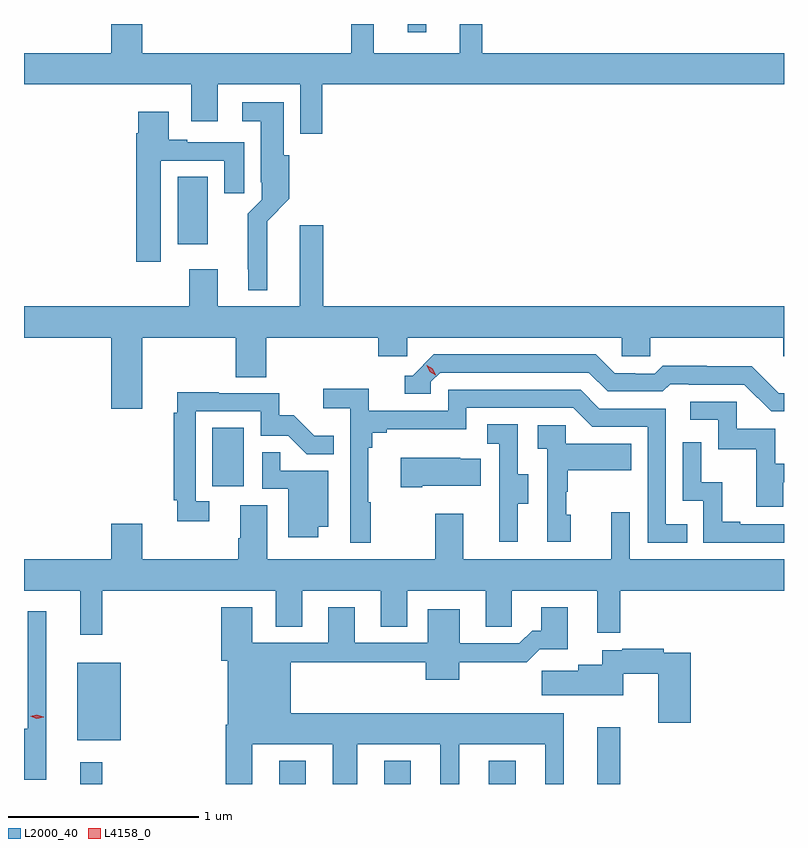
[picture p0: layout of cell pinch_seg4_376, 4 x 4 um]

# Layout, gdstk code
import gdstk
lib = gdstk.Library(unit=1e-6, precision=1e-09)
def R(c, l, rs):  # rectangles x0, y0, x1, y1
    for r in rs: c.add(gdstk.rectangle(r[:2], r[2:], *l))
def A(c, l, x, y, w, h, nx, ny, dx, dy):  # array of equal rectangles
    R(c, l, [(x+i*dx, y+j*dy, x+i*dx+w, y+j*dy+h) for i in range(nx) for j in range(ny)])
def P(c, l, *ps):  # polygons
    for p in ps: c.add(gdstk.Polygon(p, *l))
L2000_40 = (2000, 40)
L4158_0 = (4158, 0)

pinch_seg4_376 = lib.new_cell('pinch_seg4_376')
A(pinch_seg4_376, L2000_40, 993.065, 778.486, 0.14, 0.123, 3, 1, 0.552, 0)
R(pinch_seg4_376, L2000_40, [(992.018,778.486,992.135,778.6), (994.739,778.486,994.861,778.786), (992.003,778.715,992.23,779.125), (992.714,780.054,992.878,780.361), (992.531,781.326,992.689,781.682), (993.741,782.442,993.838,782.486)])
P(pinch_seg4_376, L2000_40, [(992.18,782.486),(992.18,782.332),(991.722,782.332),(991.722,782.168),(992.603,782.168),(992.603,781.974),(992.743,781.974),(992.743,782.168),(993.177,782.168),(993.177,781.908),(993.293,781.908),(993.293,782.168),(995.722,782.168),(995.722,782.332),(994.133,782.332),(994.133,782.486),(994.016,782.486),(994.016,782.332),(993.563,782.332),(993.563,782.486),(993.445,782.486),(993.445,782.332),(992.344,782.332),(992.344,782.486)],
  [(993.001,781.448),(993.119,781.566),(993.119,781.794),(993.088,781.794),(993.088,782.074),(992.871,782.074),(992.871,781.973),(992.969,781.973),(992.969,781.654),(992.973,781.654),(992.973,781.56),(992.9,781.487),(992.9,781.195),(992.903,781.195),(992.903,781.085),(993.001,781.085)],
  [(992.443,781.767),(992.777,781.767),(992.777,781.596),(992.881,781.596),(992.881,781.863),(992.581,781.863),(992.581,781.876),(992.485,781.876),(992.485,782.023),(992.324,782.023),(992.324,781.91),(992.312,781.91),(992.312,781.236),(992.443,781.236)],
  [(992.836,780.628),(992.996,780.628),(992.996,780.836),(993.587,780.836),(993.587,780.738),(993.738,780.738),(993.738,780.836),(994.869,780.836),(994.869,780.738),(995.019,780.738),(995.019,780.836),(995.717,780.836),(995.717,780.738),(995.722,780.738),(995.722,781),(993.296,781),(993.296,781.426),(993.173,781.426),(993.173,781),(992.743,781),(992.743,781.195),(992.591,781.195),(992.591,781),(991.722,781),(991.722,780.836),(992.18,780.836),(992.18,780.462),(992.344,780.462),(992.344,780.836),(992.836,780.836)],
  [(995.722,780.543),(995.694,780.543),(995.552,780.685),(995.316,780.685),(995.316,780.688),(995.083,780.688),(995.041,780.645),(994.938,780.645),(994.938,780.648),(994.831,780.648),(994.732,780.747),(993.879,780.747),(993.768,780.636),(993.725,780.636),(993.725,780.54),(993.864,780.54),(993.864,780.603),(993.912,780.651),(994.695,780.651),(994.794,780.552),(995.083,780.552),(995.122,780.591),(995.221,780.591),(995.221,780.588),(995.514,780.588),(995.655,780.447),(995.722,780.447)],
  [(993.547,779.969),(993.535,779.969),(993.535,780.257),(993.554,780.257),(993.554,780.334),(993.631,780.334),(993.631,780.353),(994.05,780.353),(994.05,780.465),(994.614,780.465),(994.713,780.366),(995.004,780.366),(995.004,779.757),(995.213,779.757),(995.213,779.853),(995.1,779.853),(995.1,780.462),(994.75,780.462),(994.651,780.561),(993.954,780.561),(993.954,780.45),(993.536,780.45),(993.536,780.566),(993.297,780.566),(993.297,780.464),(993.438,780.464),(993.438,779.757),(993.547,779.757)],
  [(992.698,779.973),(992.625,779.973),(992.625,780.447),(992.967,780.447),(992.967,780.318),(993.112,780.318),(993.209,780.221),(993.353,780.221),(993.353,780.319),(993.249,780.319),(993.142,780.426),(993.066,780.426),(993.066,780.543),(992.747,780.543),(992.747,780.548),(992.528,780.548),(992.528,780.44),(992.509,780.44),(992.509,779.98),(992.528,779.98),(992.528,779.868),(992.698,779.868)],
  [(995.719,780.075),(995.722,780.075),(995.722,780.171),(995.677,780.171),(995.677,780.357),(995.472,780.357),(995.472,780.498),(995.229,780.498),(995.229,780.402),(995.376,780.402),(995.376,780.249),(995.575,780.249),(995.575,779.946),(995.719,779.946)],
  [(994.321,779.962),(994.375,779.962),(994.375,780.117),(994.32,780.117),(994.32,780.38),(994.161,780.38),(994.161,780.277),(994.224,780.277),(994.224,779.973),(994.223,779.973),(994.223,779.76),(994.321,779.76)],
  [(994.6,779.904),(994.575,779.904),(994.575,780.023),(994.585,780.023),(994.585,780.137),(994.919,780.137),(994.919,780.277),(994.572,780.277),(994.572,780.375),(994.425,780.375),(994.425,780.251),(994.476,780.251),(994.476,779.76),(994.6,779.76)],
  [(995.722,779.853),(995.491,779.853),(995.491,779.866),(995.396,779.866),(995.396,780.074),(995.286,780.074),(995.286,780.286),(995.19,780.286),(995.19,779.976),(995.298,779.976),(995.298,779.757),(995.722,779.757)],
  [(993.271,779.84),(993.322,779.84),(993.322,780.135),(993.071,780.135),(993.071,780.233),(992.976,780.233),(992.976,780.039),(993.113,780.039),(993.113,779.784),(993.271,779.784)],
  [(993.817,780.056),(994.127,780.056),(994.127,780.199),(994.019,780.199),(994.019,780.202),(993.705,780.202),(993.705,780.049),(993.817,780.049)],
  [(992.135,779.504),(993.047,779.504),(993.047,779.314),(993.187,779.314),(993.187,779.504),(993.599,779.504),(993.599,779.314),(993.739,779.314),(993.739,779.504),(994.151,779.504),(994.151,779.314),(994.29,779.314),(994.29,779.504),(994.739,779.504),(994.739,779.283),(994.861,779.283),(994.861,779.504),(995.722,779.504),(995.722,779.668),(994.911,779.668),(994.911,779.917),(994.814,779.917),(994.814,779.668),(994.033,779.668),(994.033,779.908),(993.886,779.908),(993.886,779.668),(993.001,779.668),(993.001,779.954),(992.861,779.954),(992.861,779.78),(992.849,779.78),(992.849,779.668),(992.344,779.668),(992.344,779.857),(992.18,779.857),(992.18,779.668),(991.722,779.668),(991.722,779.504),(992.018,779.504),(992.018,779.271),(992.135,779.271)],
  [(992.923,778.694),(993.347,778.694),(993.347,778.486),(993.475,778.486),(993.475,778.694),(993.914,778.694),(993.914,778.486),(994.012,778.486),(994.012,778.694),(994.466,778.694),(994.466,778.486),(994.564,778.486),(994.564,778.858),(993.127,778.858),(993.127,779.128),(993.836,779.128),(993.836,779.036),(994.014,779.036),(994.014,779.126),(994.367,779.126),(994.436,779.195),(994.585,779.195),(994.585,779.416),(994.445,779.416),(994.445,779.293),(994.396,779.293),(994.329,779.226),(994.015,779.226),(994.015,779.407),(993.848,779.407),(993.848,779.229),(993.463,779.229),(993.463,779.416),(993.323,779.416),(993.323,779.229),(992.923,779.229),(992.923,779.416),(992.759,779.416),(992.759,779.136),(992.795,779.136),(992.795,778.798),(992.783,778.798),(992.783,778.486),(992.923,778.486)],
  [(991.84,779.395),(991.743,779.395),(991.743,778.777),(991.722,778.777),(991.722,778.508),(991.84,778.508)],
  [(995.231,779.178),(995.088,779.178),(995.088,779.199),(994.87,779.199),(994.87,779.191),(994.766,779.191),(994.766,779.113),(994.64,779.113),(994.64,779.081),(994.446,779.081),(994.446,778.952),(994.876,778.952),(994.876,779.067),(995.06,779.067),(995.06,778.809),(995.231,778.809)])
P(pinch_seg4_376, L4158_0, [(993.889,780.638),(993.858,780.657),(993.842,780.69),(993.842,780.69),(993.842,780.69),(993.873,780.671),(993.889,780.638),(993.889,780.638)],
  [(991.789,778.83),(991.754,778.842),(991.753,778.842),(991.754,778.842),(991.79,778.85),(991.825,778.839),(991.825,778.838),(991.825,778.838)])

lib.write_gds('pinch_seg4_376.gds')
